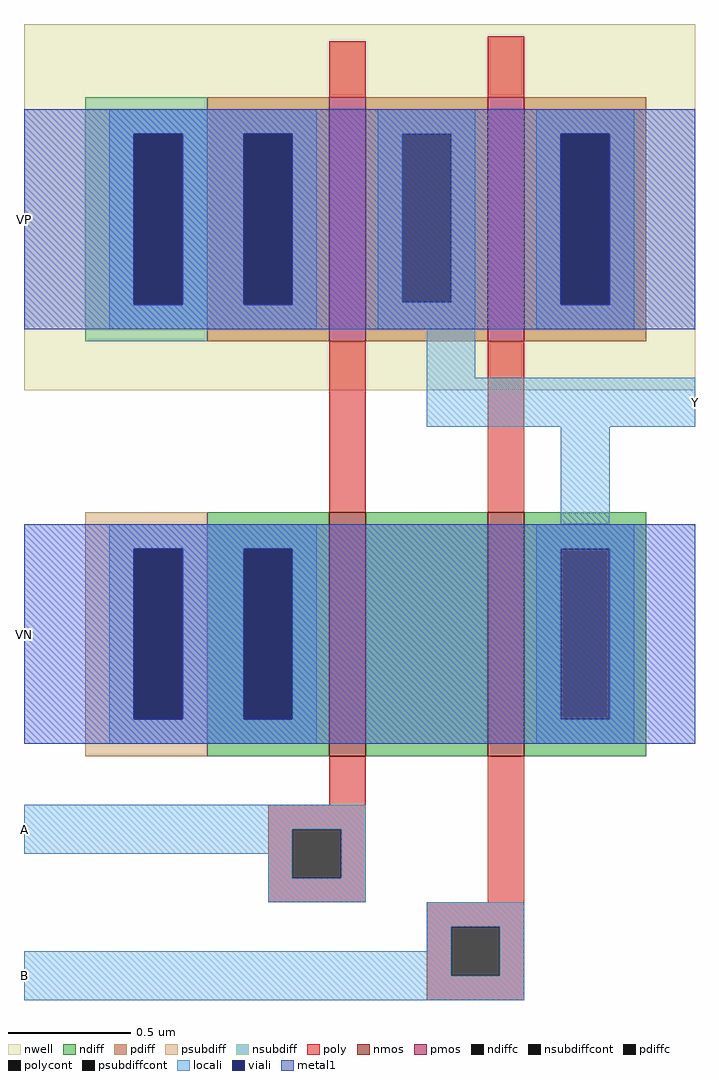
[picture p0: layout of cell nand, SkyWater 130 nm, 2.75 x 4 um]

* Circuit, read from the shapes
.subckt nand VP VN A B Y
XM1 n1 A VN VN sky130_fd_pr__nfet_01v8 w=1 l=0.15
XM2 Y B n1 VN sky130_fd_pr__nfet_01v8 w=1 l=0.15
XM3 Y A VP VP sky130_fd_pr__pfet_01v8 w=1 l=0.15
XM4 VP B Y VP sky130_fd_pr__pfet_01v8 w=1 l=0.15
.ends

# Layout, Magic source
magic
tech sky130A
<< nwell >>
rect -75 150 200 300
<< nmos >>
rect 50 0 65 100
rect 115 0 130 100
<< pmos >>
rect 50 170 65 270
rect 115 170 130 270
<< ndiff >>
rect 0 85 50 100
rect 0 15 15 85
rect 35 15 50 85
rect 0 0 50 15
rect 65 0 115 100
rect 130 85 180 100
rect 130 15 145 85
rect 165 15 180 85
rect 130 0 180 15
<< pdiff >>
rect 0 255 50 270
rect 0 185 15 255
rect 35 185 50 255
rect 0 170 50 185
rect 65 255 115 270
rect 65 186 80 255
rect 100 186 115 255
rect 65 170 115 186
rect 130 255 180 270
rect 130 185 145 255
rect 165 185 180 255
rect 130 170 180 185
<< ndiffc >>
rect 15 15 35 85
rect 145 15 165 85
<< pdiffc >>
rect 15 185 35 255
rect 80 186 100 255
rect 145 185 165 255
<< psubdiff >>
rect -50 85 0 100
rect -50 15 -30 85
rect -10 15 0 85
rect -50 0 0 15
<< nsubdiff >>
rect -50 255 0 270
rect -50 185 -30 255
rect -10 185 0 255
rect -50 170 0 185
<< psubdiffcont >>
rect -30 15 -10 85
<< nsubdiffcont >>
rect -30 185 -10 255
<< poly >>
rect 50 270 65 293
rect 115 270 130 295
rect 50 100 65 170
rect 115 100 130 170
rect 50 -20 65 0
rect 25 -30 65 -20
rect 25 -50 35 -30
rect 55 -50 65 -30
rect 25 -60 65 -50
rect 115 -60 130 0
rect 90 -70 130 -60
rect 90 -90 100 -70
rect 120 -90 130 -70
rect 90 -100 130 -90
<< polycont >>
rect 35 -50 55 -30
rect 100 -90 120 -70
<< locali >>
rect -40 255 45 265
rect -40 185 -30 255
rect -10 185 15 255
rect 35 185 45 255
rect -40 175 45 185
rect 70 255 110 265
rect 70 186 80 255
rect 100 186 110 255
rect 70 175 110 186
rect 135 255 175 265
rect 135 185 145 255
rect 165 185 175 255
rect 135 175 175 185
rect 90 155 110 175
rect 90 135 200 155
rect 145 95 165 135
rect -40 85 45 95
rect -40 15 -30 85
rect -10 15 15 85
rect 35 15 45 85
rect -40 5 45 15
rect 135 85 175 95
rect 135 15 145 85
rect 165 15 175 85
rect 135 5 175 15
rect -75 -30 65 -20
rect -75 -40 35 -30
rect 25 -50 35 -40
rect 55 -50 65 -30
rect 25 -60 65 -50
rect 90 -70 130 -60
rect 90 -80 100 -70
rect -75 -90 100 -80
rect 120 -90 130 -70
rect -75 -100 130 -90
<< viali >>
rect -30 185 -10 255
rect 15 185 35 255
rect 145 185 165 255
rect -30 15 -10 85
rect 15 15 35 85
<< metal1 >>
rect -75 255 200 265
rect -75 185 -30 255
rect -10 185 15 255
rect 35 185 145 255
rect 165 185 200 255
rect -75 175 200 185
rect -75 85 200 95
rect -75 15 -30 85
rect -10 15 15 85
rect 35 15 200 85
rect -75 5 200 15
<< labels >>
rlabel metal1 -75 220 -75 220 7 VP
port 1 w
rlabel metal1 -75 50 -75 50 7 VN
port 2 w
rlabel locali -75 -30 -75 -30 7 A
port 3 w
rlabel locali -75 -90 -75 -90 7 B
port 4 w
rlabel locali 200 145 200 145 3 Y
port 5 e
<< end >>
